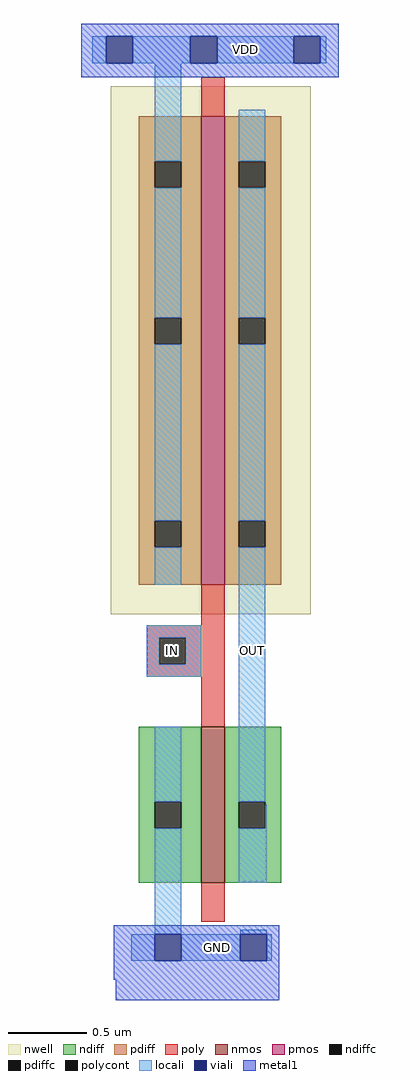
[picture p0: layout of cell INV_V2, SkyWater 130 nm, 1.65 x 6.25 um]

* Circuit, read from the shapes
.subckt INV_V2 GND IN OUT VDD
XM1 OUT IN GND VSUBS sky130_fd_pr__nfet_01v8 w=1 l=0.15
XM2 OUT IN VDD n1 sky130_fd_pr__pfet_01v8 w=3 l=0.15
.ends

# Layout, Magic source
magic
tech sky130A
<< nwell >>
rect -18 172 110 510
<< nmos >>
rect 40 0 55 100
<< pmos >>
rect 40 191 55 491
<< ndiff >>
rect 0 52 40 100
rect 0 35 10 52
rect 27 35 40 52
rect 0 0 40 35
rect 55 52 91 100
rect 55 35 64 52
rect 81 35 91 52
rect 55 0 91 35
<< pdiff >>
rect 0 462 40 491
rect 0 445 10 462
rect 27 445 40 462
rect 0 362 40 445
rect 0 345 10 362
rect 27 345 40 362
rect 0 232 40 345
rect 0 215 10 232
rect 27 215 40 232
rect 0 191 40 215
rect 55 462 91 491
rect 55 445 64 462
rect 81 445 91 462
rect 55 362 91 445
rect 55 345 64 362
rect 81 345 91 362
rect 55 232 91 345
rect 55 215 64 232
rect 81 215 91 232
rect 55 191 91 215
<< ndiffc >>
rect 10 35 27 52
rect 64 35 81 52
<< pdiffc >>
rect 10 445 27 462
rect 10 345 27 362
rect 10 215 27 232
rect 64 445 81 462
rect 64 345 81 362
rect 64 215 81 232
<< poly >>
rect 40 491 55 516
rect 40 165 55 191
rect 5 157 55 165
rect 5 140 13 157
rect 30 140 55 157
rect 5 132 55 140
rect 40 100 55 132
rect 40 -25 55 0
<< polycont >>
rect 13 140 30 157
<< locali >>
rect -30 525 -21 542
rect -4 525 33 542
rect 50 525 99 542
rect 116 525 120 542
rect 10 462 27 525
rect 10 362 27 445
rect 10 232 27 345
rect 10 191 27 215
rect 64 462 81 495
rect 64 362 81 445
rect 64 232 81 345
rect 5 157 40 165
rect 5 140 13 157
rect 30 140 40 157
rect 5 132 40 140
rect 10 52 27 100
rect 10 -33 27 35
rect 64 52 81 215
rect 81 35 82 50
rect 64 0 82 35
rect 65 -33 82 -30
rect -5 -50 10 -33
rect 27 -50 65 -33
rect 82 -50 85 -33
<< viali >>
rect -21 525 -4 542
rect 33 525 50 542
rect 99 525 116 542
rect 10 -50 27 -33
rect 65 -50 82 -33
<< metal1 >>
rect -37 542 128 550
rect -37 525 -21 542
rect -4 525 33 542
rect 50 525 99 542
rect 116 525 128 542
rect -37 516 128 525
rect -16 -33 90 -27
rect -16 -50 10 -33
rect 27 -50 65 -33
rect 82 -50 90 -33
rect -16 -62 90 -50
rect -15 -75 90 -62
<< labels >>
flabel polycont 13 140 30 157 0 FreeSans 80 0 0 0 IN
flabel locali 64 140 81 157 0 FreeSans 80 0 0 0 OUT
flabel metal1 42 -50 59 -33 0 FreeSans 80 0 0 0 GND
flabel metal1 60 525 77 542 0 FreeSans 80 0 0 0 VDD
<< end >>
